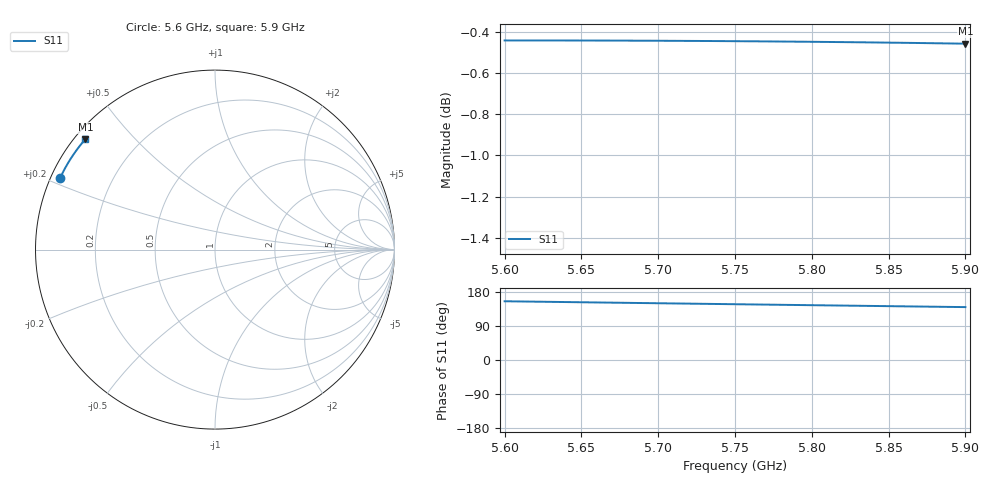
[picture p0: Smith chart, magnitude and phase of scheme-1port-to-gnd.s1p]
! Touchstone file from project sms7630-SMA-1port
! Exported from HFSS 15.0.0
# GHZ S MA R 50.000000
! Terminal data exported
! Port[1] = PIN1_T1
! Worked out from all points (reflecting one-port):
!   10 points, 5.6 GHz to 5.9 GHz, reference 50 ohm
!   lowest |S11| = -0.5 dB at 5.9 GHz (marker M1), VSWR 38.03, Z = 1.49 + j18.4 ohm
!   phase of S11 starts at 155 deg and turns -15 deg over the sweep
5.6  0.9505 155.0
5.633333  0.9505 153.2
5.666667  0.9504 151.5
5.7  0.9503 149.8
5.733333  0.9502 148.1
5.766667  0.95 146.3
5.8  0.9498 144.6
5.833333  0.9495 142.9
5.866667  0.9491 141.3
5.9  0.9488 139.6
